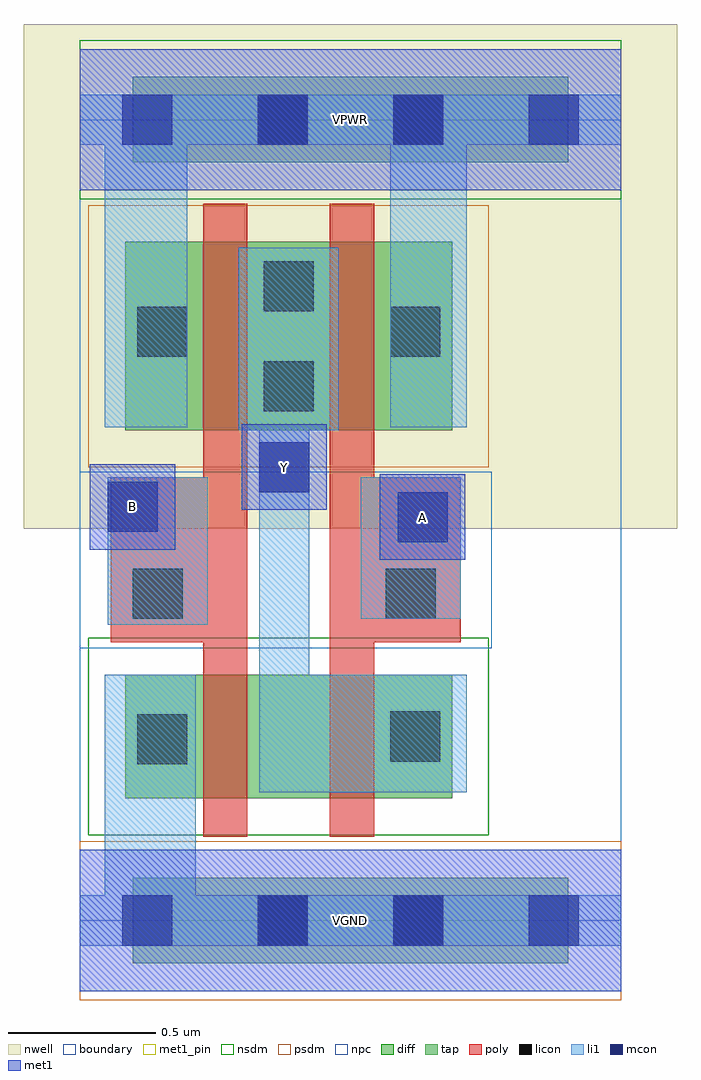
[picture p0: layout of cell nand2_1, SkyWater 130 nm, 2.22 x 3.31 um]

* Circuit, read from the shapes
.subckt nand2_1 A B VGND VPWR Y
XM1 n1 B VGND VGND sky130_fd_pr__nfet_01v8 w=0.42 l=0.15
XM2 Y A n1 VGND sky130_fd_pr__nfet_01v8 w=0.42 l=0.15
XM3 Y B VPWR VPWR sky130_fd_pr__pfet_01v8 w=0.64 l=0.15
XM4 VPWR A Y VPWR sky130_fd_pr__pfet_01v8 w=0.64 l=0.15
.ends

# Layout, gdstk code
import gdstk
lib = gdstk.Library(unit=1e-6, precision=1e-09)
def R(c, l, rs):  # rectangles x0, y0, x1, y1
    for r in rs: c.add(gdstk.rectangle(r[:2], r[2:], *l))
def A(c, l, x, y, w, h, nx, ny, dx, dy):  # array of equal rectangles
    R(c, l, [(x+i*dx, y+j*dy, x+i*dx+w, y+j*dy+h) for i in range(nx) for j in range(ny)])
nwell = (64, 20)
diff = (65, 20)
tap = (65, 44)
poly = (66, 20)
licon = (66, 44)
li1 = (67, 20)
mcon = (67, 44)
met1_pin = (68, 16)
met1 = (68, 20)
nsdm = (93, 44)
psdm = (94, 20)
npc = (95, 20)
boundary = (235, 4)

nand2_1 = lib.new_cell('nand2_1')
R(nand2_1, nwell, [(-0.19,1.33,2.03,3.045), (0,1.33,1.84,3.045)])
R(nand2_1, diff, [(0.155,0.415,1.265,0.835), (0.155,1.665,1.265,2.305)])
R(nand2_1, tap, [(0.18,-0.145,1.66,0.145), (0.18,2.575,1.66,2.865)])
R(nand2_1, poly, [(0.42,0.285,0.57,2.435), (0.85,0.285,1,2.435), (0.105,0.945,0.57,1.505), (0.85,0.945,1.295,1.505)])
R(nand2_1, licon, [(0.605,-0.085,0.775,0.085), (1.065,-0.085,1.235,0.085), (0.195,0.53,0.365,0.7), (1.055,0.54,1.225,0.71), (0.18,1.025,0.35,1.195), (1.04,1.025,1.21,1.195), (0.625,1.73,0.795,1.9), (0.195,1.915,0.365,2.085), (1.055,1.915,1.225,2.085), (0.625,2.07,0.795,2.24), (0.605,2.635,0.775,2.805), (1.065,2.635,1.235,2.805)])
R(nand2_1, li1, [(0,-0.085,1.84,0.085), (0.085,-0.085,0.395,0.835), (0.61,0.435,1.315,0.835), (0.61,0.435,0.78,2.285), (0.095,1.005,0.435,1.505), (0.955,1.025,1.295,1.505), (0.54,1.665,0.88,2.285), (0.085,1.675,0.365,2.805), (1.055,1.675,1.315,2.805), (0,2.635,1.84,2.805)])
A(nand2_1, mcon, 0.145, -0.085, 0.17, 0.17, 4, 2, 0.46, 2.72)
R(nand2_1, mcon, [(1.08,1.285,1.25,1.455), (0.095,1.32,0.265,1.49), (0.61,1.455,0.78,1.625)])
R(nand2_1, met1_pin, [(0,-0.24,1.84,0.24), (1.02,1.225,1.31,1.515), (0.035,1.26,0.325,1.55), (0.55,1.395,0.84,1.685), (0,2.48,1.84,2.96)])
R(nand2_1, met1, [(0,-0.24,1.84,0.24), (1.02,1.225,1.31,1.515), (0.035,1.26,0.325,1.55), (0.55,1.395,0.84,1.685), (0,2.48,1.84,2.96)])
R(nand2_1, nsdm, [(0.03,0.29,1.39,0.96), (0,2.45,1.84,2.99)])
R(nand2_1, psdm, [(0,-0.27,1.84,0.27), (0.03,1.54,1.39,2.43)])
R(nand2_1, npc, [(0,0.925,1.4,1.525)])
R(nand2_1, boundary, [(0,0,1.84,2.72)])
nand2_1.add(gdstk.Label('A', (1.165,1.37), layer=68, texttype=5))
nand2_1.add(gdstk.Label('B', (0.18,1.405), layer=68, texttype=5))
nand2_1.add(gdstk.Label('Y', (0.695,1.54), layer=68, texttype=5))
nand2_1.add(gdstk.Label('VPWR', (0.92,2.72), layer=68, texttype=5))
nand2_1.add(gdstk.Label('VGND', (0.92,0), layer=68, texttype=5))
nand2_1.add(gdstk.Label('A', (1.165,1.37), layer=68, texttype=16))
nand2_1.add(gdstk.Label('B', (0.18,1.405), layer=68, texttype=16))
nand2_1.add(gdstk.Label('Y', (0.695,1.54), layer=68, texttype=16))
nand2_1.add(gdstk.Label('VPWR', (0.92,2.72), layer=68, texttype=16))
nand2_1.add(gdstk.Label('VGND', (0.92,0), layer=68, texttype=16))

lib.write_gds('nand2_1.gds')
